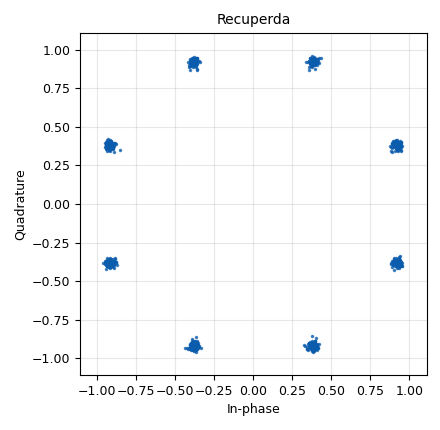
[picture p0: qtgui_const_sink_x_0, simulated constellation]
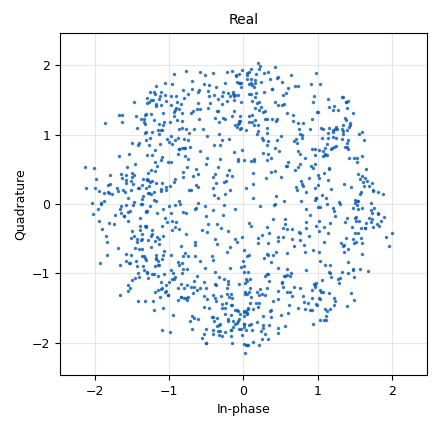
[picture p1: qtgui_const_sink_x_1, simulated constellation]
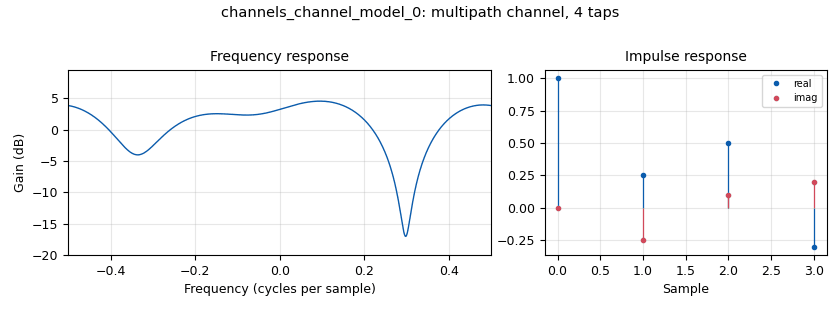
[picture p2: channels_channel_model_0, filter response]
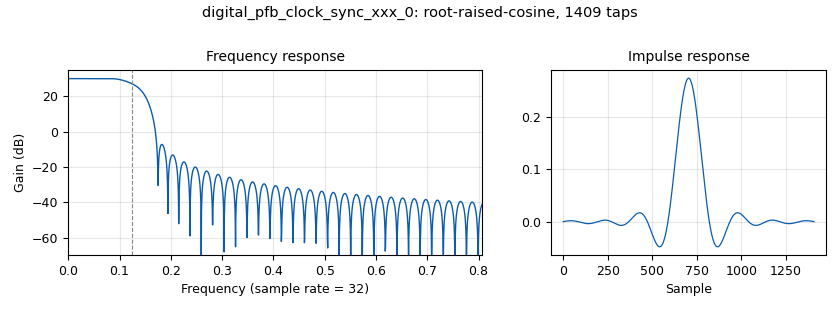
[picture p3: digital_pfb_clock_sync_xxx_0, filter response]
options:
  parameters:
    author: Juan David Barrero
    generate_options: qt_gui
    id: CCLoop
    output_language: python
    title: Evitando la frecuencia offset
  states: {}

blocks:
- name: constelation
  id: variable
  parameters:
    value: '8'
  states: {}
- name: eq_gain
  id: variable_qtgui_range
  parameters:
    gui_hint: 4,0,1,1
    label: 'Equalizer: rate'
    orient: Qt.Horizontal
    start: '0.0'
    step: '0.001'
    stop: '0.1'
    value: '0.01'
    widget: slider
  states: {}
- name: freq_offset
  id: variable_qtgui_range
  parameters:
    gui_hint: 2,1,1,1
    label: 'Channel: Frequency Offset'
    orient: Qt.Horizontal
    start: '-0.1'
    step: '0.001'
    stop: '0.1'
    value: '0'
  states: {}
- name: nfilts
  id: variable
  parameters:
    value: '32'
  states: {}
- name: noise_volt
  id: variable_qtgui_range
  parameters:
    gui_hint: 2,0,1,1
    label: 'Channel: Noise Voltage'
    orient: Qt.Horizontal
    start: '0'
    step: '0.01'
    stop: '1'
    value: '0.0001'
    widget: slider
  states: {}
- name: rrc_taps
  id: variable
  parameters:
    value: firdes.root_raised_cosine(nfilts, nfilts, 1.0/float(sps), 0.35, 11*sps*nfilts)
  states: {}
- name: samp_rate
  id: variable
  parameters:
    value: '32000'
  states: {}
- name: sps
  id: variable
  parameters:
    value: '4'
  states: {}
- name: taps
  id: variable
  parameters:
    value: '[1.0, 0.25-0.25j, 0.50 + 0.10j, -0.3 + 0.2j]'
  states: {}
- name: time_offset
  id: variable_qtgui_range
  parameters:
    gui_hint: 3,0,1,1
    label: 'Channel: Timing Offset'
    orient: Qt.Horizontal
    start: '0.999'
    step: '0.0001'
    stop: '1.001'
    value: '1.00'
    widget: slider
  states: {}
- name: analog_random_source_x_0
  id: analog_random_source_x
  parameters:
    max: '256'
    min: '0'
    num_samps: '1000'
    repeat: 'True'
    type: byte
  states: {}
- name: blocks_throttle_0
  id: blocks_throttle
  parameters:
    samples_per_second: '32000'
    type: complex
  states: {}
- name: channels_channel_model_0
  id: channels_channel_model
  parameters:
    epsilon: time_offset
    freq_offset: freq_offset
    noise_voltage: noise_volt
    seed: '0'
    taps: taps
  states: {}
- name: digital_cma_equalizer_cc_0
  id: digital_cma_equalizer_cc
  parameters:
    modulus: '1'
    mu: eq_gain
    num_taps: '15'
    sps: '2'
  states: {}
- name: digital_costas_loop_cc_0
  id: digital_costas_loop_cc
  parameters:
    order: constelation
    w: '0.0628'
  states: {}
- name: digital_pfb_clock_sync_xxx_0
  id: digital_pfb_clock_sync_xxx
  parameters:
    filter_size: nfilts
    init_phase: nfilts/2
    loop_bw: '0.0628'
    max_dev: '1.5'
    osps: '2'
    sps: sps
    taps: rrc_taps
    type: ccf
  states: {}
- name: digital_psk_mod_0
  id: digital_psk_mod
  parameters:
    constellation_points: constelation
    differential: 'False'
    excess_bw: '0.35'
    mod_code: '"gray"'
    samples_per_symbol: sps
  states: {}
- name: qtgui_const_sink_x_0
  id: qtgui_const_sink_x
  parameters:
    autoscale: 'True'
    grid: 'True'
    gui_hint: 0,1,1,1
    name: Recuperda
    size: '1024'
    type: complex
  states: {}
- name: qtgui_const_sink_x_1
  id: qtgui_const_sink_x
  parameters:
    autoscale: 'True'
    grid: 'True'
    gui_hint: 0,0,1,1
    name: Real
    size: '1024'
    type: complex
  states: {}
- name: virtual_sink_0
  id: virtual_sink
  parameters: {}
  states: {}
- name: virtual_source_0
  id: virtual_source
  parameters: {}
  states: {}

connections:
- [analog_random_source_x_0, '0', digital_psk_mod_0, '0']
- [blocks_throttle_0, '0', channels_channel_model_0, '0']
- [channels_channel_model_0, '0', qtgui_const_sink_x_1, '0']
- [channels_channel_model_0, '0', virtual_sink_0, '0']
- [digital_cma_equalizer_cc_0, '0', digital_costas_loop_cc_0, '0']
- [digital_costas_loop_cc_0, '0', qtgui_const_sink_x_0, '0']
- [digital_pfb_clock_sync_xxx_0, '0', digital_cma_equalizer_cc_0, '0']
- [digital_psk_mod_0, '0', blocks_throttle_0, '0']
- [virtual_source_0, '0', digital_pfb_clock_sync_xxx_0, '0']

metadata:
  file_format: 1
